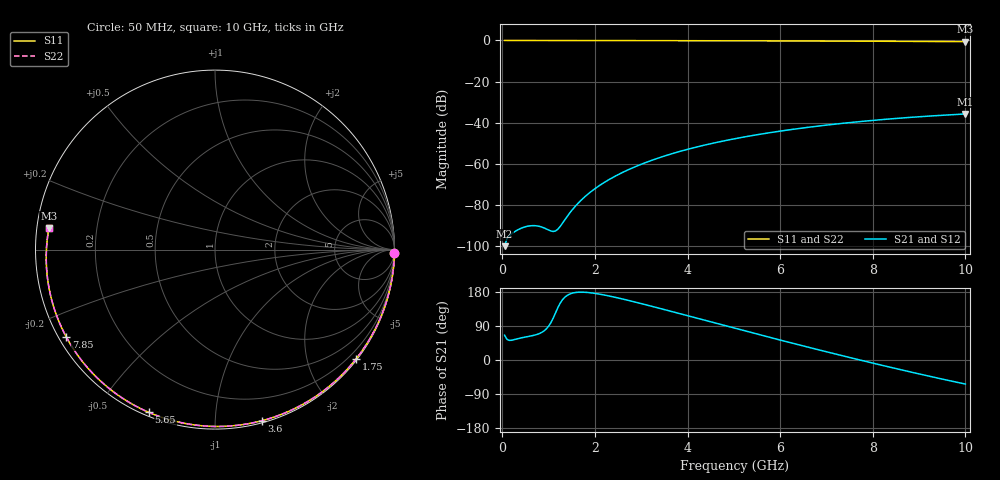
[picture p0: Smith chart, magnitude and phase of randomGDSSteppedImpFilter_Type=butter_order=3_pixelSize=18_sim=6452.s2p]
! freq	dB(S11)	phase(S11)	dB(S12)	phase(S12)
!  dB(S21)	phase(S21)	dB(S22)	phase(S22)
!S-par simulation data
#  GHz  S  DB  R 50
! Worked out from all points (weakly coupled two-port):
!   200 points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, 50 MHz to 10 GHz, reference 50 ohm
!   highest |S21| = -35.74 dB at 10 GHz (marker M1); lowest = -100.0 dB at 50 MHz (marker M2)
!   lowest |S11| = -0.6 dB at 10 GHz (marker M3), VSWR 28.95, Z = 1.73 + j3.17 ohm
!   |S11| at or under -10 dB: nowhere
!   |S22| runs from -0.6 to 0.0 dB; largest |S21 - S12| = 0
!   S11 on the Smith chart (normalised r, x): 50 MHz: open; 1.75 GHz: 0.03, -2.93; 3.6 GHz: 0.02, -1.31; 5.65 GHz: 0.02, -0.67; 7.85 GHz: 0.02, -0.27; 10 GHz: 0.03, +0.06
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0.05  -0.00 -1.1  -100.01 65.5  -100.01 65.5  -0.00 -1.1
0.4  -0.01 -8.8  -91.37 58.1  -91.37 58.1  -0.01 -8.8
0.8  -0.02 -17.5  -90.38 69.8  -90.38 69.8  -0.02 -17.5
1.2  -0.03 -26.1  -91.75 138.2  -91.75 138.2  -0.03 -26.1
1.6  -0.04 -34.5  -80.01 178.4  -80.01 178.4  -0.04 -34.5
1.75  -0.05 -37.7  -76.64 179.0  -76.64 179.0  -0.05 -37.7
2.05  -0.06 -43.9  -71.27 174.9  -71.27 174.9  -0.06 -43.9
2.25  -0.06 -48.0  -68.37 170.4  -68.37 170.4  -0.06 -48.0
2.45  -0.07 -52.1  -65.84 165.1  -65.84 165.1  -0.07 -52.1
2.9  -0.08 -61.1  -61.10 152.0  -61.10 152.0  -0.08 -61.1
3.4  -0.09 -71.0  -56.93 136.3  -56.93 136.3  -0.09 -71.0
3.6  -0.10 -74.8  -55.49 129.8  -55.49 129.8  -0.10 -74.8
4.3  -0.12 -88.0  -51.23 107.1  -51.23 107.1  -0.12 -88.0
5.05  -0.15 -101.6  -47.65 82.8  -47.65 82.8  -0.15 -101.6
5.65  -0.18 -112.1  -45.29 63.6  -45.29 63.6  -0.18 -112.1
6.15  -0.21 -120.7  -43.59 47.9  -43.59 47.9  -0.21 -120.7
6.7  -0.25 -130.1  -41.95 30.9  -41.95 30.9  -0.25 -130.1
7.3  -0.30 -140.2  -40.40 12.6  -40.40 12.6  -0.30 -140.2
7.85  -0.35 -149.5  -39.17 -3.8  -39.17 -3.8  -0.35 -149.5
8.35  -0.39 -157.9  -38.19 -18.4  -38.19 -18.4  -0.39 -158.0
9.2  -0.49 -172.7  -36.79 -42.3  -36.79 -42.3  -0.49 -172.7
10  -0.60 172.7  -35.74 -63.5  -35.74 -63.5  -0.60 172.7
